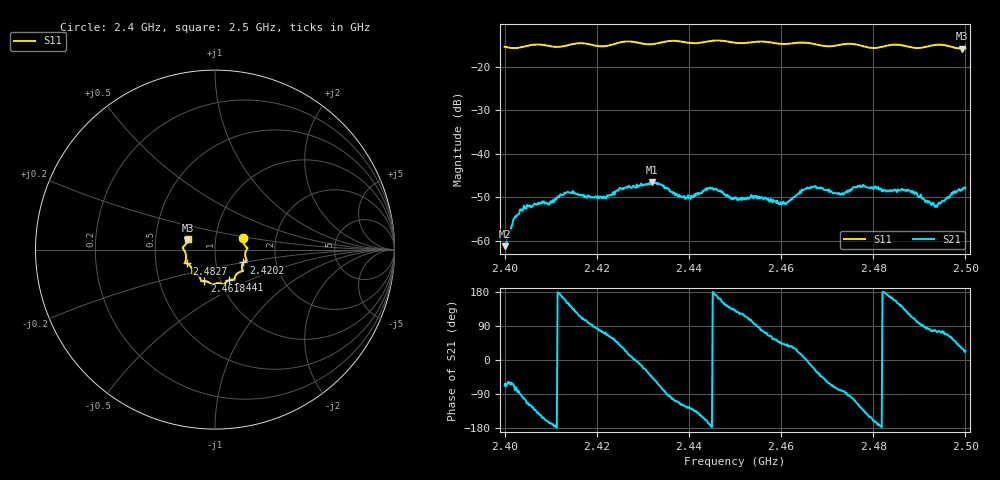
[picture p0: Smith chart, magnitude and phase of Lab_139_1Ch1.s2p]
# Hz S RI R 50
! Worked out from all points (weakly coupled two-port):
!   601 points, 2.4 GHz to 2.5 GHz, reference 50 ohm
!   highest |S21| = -46.57 dB at 2.432 GHz (marker M1); lowest = -61.2 dB at 2.4 GHz (marker M2)
!   lowest |S11| = -15.8 dB at 2.4993 GHz (marker M3), VSWR 1.39, Z = 36.5 + j3.84 ohm
!   |S11| at or under -10 dB: start of sweep to end of sweep
!   S12 and S22 are empty: the file has one direction only
!   S11 on the Smith chart (normalised r, x): 2.4 GHz: 1.36, +0.18; 2.4202 GHz: 1.36, -0.20; 2.441 GHz: 1.10, -0.39; 2.4618 GHz: 0.84, -0.30; 2.4827 GHz: 0.72, -0.12; 2.5 GHz: 0.73, +0.09
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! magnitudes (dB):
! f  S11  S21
! 2.4 GHz  -15.4  -61.2
! 2.402 GHz  -15.7  -54.8
! 2.4038 GHz  -15.4  -53.1
! 2.4135 GHz  -15.1  -48.9
! 2.4167 GHz  -14.5  -49.4
! 2.4202 GHz  -15.2  -50.3
! 2.432 GHz  -14.8  -46.6
! 2.4333 GHz  -14.5  -46.7
! 2.438 GHz  -14.1  -49.9
! 2.441 GHz  -14.6  -50.0
! 2.4447 GHz  -14.0  -47.9
! 2.45 GHz  -14.4  -50.0
! 2.4618 GHz  -14.6  -50.8
! 2.4667 GHz  -14.6  -47.7
! 2.4732 GHz  -14.8  -49.3
! 2.4773 GHz  -15.1  -47.7
! 2.4827 GHz  -15.2  -48.4
! 2.4833 GHz  -15.0  -48.5
! 2.4878 GHz  -15.4  -48.5
! 2.4937 GHz  -14.9  -51.8
! 2.4993 GHz  -15.8  -48.3
! 2.5 GHz  -15.7  -47.7
